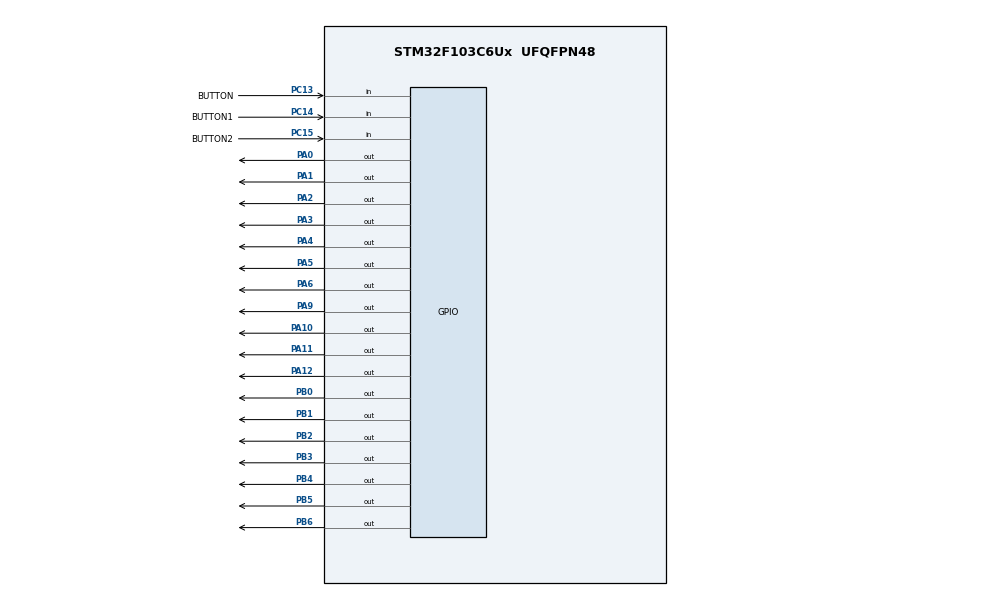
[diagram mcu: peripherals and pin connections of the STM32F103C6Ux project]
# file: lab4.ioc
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Mcu.Family=STM32F1
Mcu.Name=STM32F103C6Ux
Mcu.Package=UFQFPN48
NVIC.PriorityGroup=NVIC_PRIORITYGROUP_4
NVIC.TIM2_IRQn=true\:0\:0\:false\:false\:true\:true\:true
PA0-WKUP.Signal=GPIO_Output
PA1.Signal=GPIO_Output
PA10.Signal=GPIO_Output
PA11.Signal=GPIO_Output
PA12.Signal=GPIO_Output
PA2.Signal=GPIO_Output
PA3.Signal=GPIO_Output
PA4.Signal=GPIO_Output
PA5.Signal=GPIO_Output
PA6.Signal=GPIO_Output
PA9.Signal=GPIO_Output
PB0.Signal=GPIO_Output
PB1.Signal=GPIO_Output
PB2.Signal=GPIO_Output
PB3.Signal=GPIO_Output
PB4.Signal=GPIO_Output
PB5.Signal=GPIO_Output
PB6.Signal=GPIO_Output
PC13-TAMPER-RTC.GPIO_Label=BUTTON
PC13-TAMPER-RTC.GPIO_PuPd=GPIO_PULLUP
PC13-TAMPER-RTC.Signal=GPIO_Input
PC14-OSC32_IN.GPIO_Label=BUTTON1
PC14-OSC32_IN.GPIO_PuPd=GPIO_PULLUP
PC14-OSC32_IN.Signal=GPIO_Input
PC15-OSC32_OUT.GPIO_Label=BUTTON2
PC15-OSC32_OUT.GPIO_PuPd=GPIO_PULLUP
PC15-OSC32_OUT.Signal=GPIO_Input
ProjectManager.HeapSize=0x200
ProjectManager.StackSize=0x400
ProjectManager.TargetToolchain=STM32CubeIDE
RCC.APB1Freq_Value=8000000
RCC.APB2Freq_Value=8000000
TIM2.Period=9
TIM2.Prescaler=7999
VP_SYS_VS_ND.Mode=No_Debug
VP_TIM2_VS_ClockSourceINT.Mode=Internal
board=custom

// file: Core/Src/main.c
/* USER CODE BEGIN Header */
/**
  ******************************************************************************
  * @file           : main.c
  * @brief          : Main program body
  ******************************************************************************
  * @attention
  *
  * <h2><center>&copy; Copyright (c) 2024 STMicroelectronics.
  * All rights reserved.</center></h2>
  *
  * This software component is licensed by ST under BSD 3-Clause license,
  * the "License"; You may not use this file except in compliance with the
  * License. You may obtain a copy of the License at:
  *                        opensource.org/licenses/BSD-3-Clause
  *
  ******************************************************************************
  */
/* USER CODE END Header */
#include "main.h"

/* USER CODE BEGIN Includes */
#include "schedule.h"
#include "global.h"
#include "Button.h"
#include "fsm_auto.h"
#include "fsm_setting.h"
#include "trafficlight.h"
#include "7seg_display.h"
/* USER CODE END Includes */

TIM_HandleTypeDef htim2;

void SystemClock_Config(void);
static void MX_GPIO_Init(void);
static void MX_TIM2_Init(void);

void task1()
	{
		HAL_GPIO_TogglePin(GPIOA, GPIO_PIN_5);
	}
	void task2()
	{
		HAL_GPIO_TogglePin(GPIOA, GPIO_PIN_6);
	}
	void task3()
	{
		HAL_GPIO_TogglePin(GPIOA, GPIO_PIN_7);
	}
int main(void)
{

  /* MCU Configuration--------------------------------------------------------*/

  /* Reset of all peripherals, Initializes the Flash interface and the Systick. */
  HAL_Init();

  /* USER CODE BEGIN Init */
  SCH_Init();
  /* USER CODE END Init */

  /* Configure the system clock */
  SystemClock_Config();

  /* Initialize all configured peripherals */
  MX_GPIO_Init();
  MX_TIM2_Init();
  HAL_TIM_Base_Start_IT (&htim2);

  /* Infinite loop */
  /* USER CODE BEGIN WHILE */
//  	HAL_GPIO_WritePin(GPIOA, GPIO_PIN_5,SET);
//    	HAL_GPIO_WritePin(GPIOA, GPIO_PIN_6,SET);
//    	HAL_GPIO_WritePin(GPIOA, GPIO_PIN_7,SET);
//    	SCH_Add_Task(task1,0,50);
//    	SCH_Add_Task(task2,100,100);
//    	SCH_Add_Task(task3,100,0);

  	led_NB=5;
  	led_DT=3;
  	counter0=0;
  	counter1=300;
  	status = cd1;
    // Add tasks to the scheduler

    SCH_Add_Task(fsm_auto_run, 0, 5); // Main traffic light FSM
   //SCH_Add_Task(run_ledblink, 0, 50); // Blinking LEDs
    SCH_Add_Task(fsm_set, 10, 5); // Traffic light setting FSM
    SCH_Add_Task(decrement_counters, 0, 1);
    SCH_Add_Task(quet_7SEG, 40, 40); // 7-segment display scanning

    // Tasks derived from the adjusted fsm_set logic
//    SCH_Add_Task(redgreen_state, 0, 100); // Red-Green state handling
//    SCH_Add_Task(redyellow_state, 0, 100); // Red-Yellow state handling
//    SCH_Add_Task(greenred_state, 0, 100); // Green-Red state handling
//    SCH_Add_Task(yellowred_state, 0, 100); // Yellow-Red state handling

  while (1)
  {
    /* USER CODE END WHILE */
	SCH_dispatch_tasks();
  }
}

void SystemClock_Config(void)
{
  RCC_OscInitTypeDef RCC_OscInitStruct = {0};
  RCC_ClkInitTypeDef RCC_ClkInitStruct = {0};

  /** Initializes the RCC Oscillators according to the specified parameters
  * in the RCC_OscInitTypeDef structure.
  */
  RCC_OscInitStruct.OscillatorType = RCC_OSCILLATORTYPE_HSI;
  RCC_OscInitStruct.HSIState = RCC_HSI_ON;
  RCC_OscInitStruct.HSICalibrationValue = RCC_HSICALIBRATION_DEFAULT;
  RCC_OscInitStruct.PLL.PLLState = RCC_PLL_NONE;
  if (HAL_RCC_OscConfig(&RCC_OscInitStruct) != HAL_OK)
  {
    Error_Handler();
  }
  /** Initializes the CPU, AHB and APB buses clocks
  */
  RCC_ClkInitStruct.ClockType = RCC_CLOCKTYPE_HCLK|RCC_CLOCKTYPE_SYSCLK
                              |RCC_CLOCKTYPE_PCLK1|RCC_CLOCKTYPE_PCLK2;
  RCC_ClkInitStruct.SYSCLKSource = RCC_SYSCLKSOURCE_HSI;
  RCC_ClkInitStruct.AHBCLKDivider = RCC_SYSCLK_DIV1;
  RCC_ClkInitStruct.APB1CLKDivider = RCC_HCLK_DIV1;
  RCC_ClkInitStruct.APB2CLKDivider = RCC_HCLK_DIV1;

  if (HAL_RCC_ClockConfig(&RCC_ClkInitStruct, FLASH_LATENCY_0) != HAL_OK)
  {
    Error_Handler();
  }
}

static void MX_TIM2_Init(void)
{

  TIM_ClockConfigTypeDef sClockSourceConfig = {0};
  TIM_MasterConfigTypeDef sMasterConfig = {0};

  htim2.Instance = TIM2;
  htim2.Init.Prescaler = 7999;
  htim2.Init.CounterMode = TIM_COUNTERMODE_UP;
  htim2.Init.Period = 9;
  htim2.Init.ClockDivision = TIM_CLOCKDIVISION_DIV1;
  htim2.Init.AutoReloadPreload = TIM_AUTORELOAD_PRELOAD_DISABLE;
  if (HAL_TIM_Base_Init(&htim2) != HAL_OK)
  {
    Error_Handler();
  }
  sClockSourceConfig.ClockSource = TIM_CLOCKSOURCE_INTERNAL;
  if (HAL_TIM_ConfigClockSource(&htim2, &sClockSourceConfig) != HAL_OK)
  {
    Error_Handler();
  }
  sMasterConfig.MasterOutputTrigger = TIM_TRGO_RESET;
  sMasterConfig.MasterSlaveMode = TIM_MASTERSLAVEMODE_DISABLE;
  if (HAL_TIMEx_MasterConfigSynchronization(&htim2, &sMasterConfig) != HAL_OK)
  {
    Error_Handler();
  }

}

static void MX_GPIO_Init(void)
{
  GPIO_InitTypeDef GPIO_InitStruct = {0};

  /* GPIO Ports Clock Enable */
  __HAL_RCC_GPIOC_CLK_ENABLE();
  __HAL_RCC_GPIOA_CLK_ENABLE();
  __HAL_RCC_GPIOB_CLK_ENABLE();

  /*Configure GPIO pin Output Level */
  HAL_GPIO_WritePin(GPIOA, GPIO_PIN_0|GPIO_PIN_1|GPIO_PIN_2|GPIO_PIN_3
                          |GPIO_PIN_4|GPIO_PIN_5|GPIO_PIN_6|GPIO_PIN_9
                          |GPIO_PIN_10|GPIO_PIN_11|GPIO_PIN_12, GPIO_PIN_RESET);

  /*Configure GPIO pin Output Level */
  HAL_GPIO_WritePin(GPIOB, GPIO_PIN_0|GPIO_PIN_1|GPIO_PIN_2|GPIO_PIN_3
                          |GPIO_PIN_4|GPIO_PIN_5|GPIO_PIN_6, GPIO_PIN_RESET);

  /*Configure GPIO pins : BUTTON_Pin BUTTON1_Pin BUTTON2_Pin */
  GPIO_InitStruct.Pin = BUTTON_Pin|BUTTON1_Pin|BUTTON2_Pin;
  GPIO_InitStruct.Mode = GPIO_MODE_INPUT;
  GPIO_InitStruct.Pull = GPIO_PULLUP;
  HAL_GPIO_Init(GPIOC, &GPIO_InitStruct);

  /*Configure GPIO pins : PA0 PA1 PA2 PA3
                           PA4 PA5 PA6 PA9
                           PA10 PA11 PA12 */
  GPIO_InitStruct.Pin = GPIO_PIN_0|GPIO_PIN_1|GPIO_PIN_2|GPIO_PIN_3
                          |GPIO_PIN_4|GPIO_PIN_5|GPIO_PIN_6|GPIO_PIN_9
                          |GPIO_PIN_10|GPIO_PIN_11|GPIO_PIN_12;
  GPIO_InitStruct.Mode = GPIO_MODE_OUTPUT_PP;
  GPIO_InitStruct.Pull = GPIO_NOPULL;
  GPIO_InitStruct.Speed = GPIO_SPEED_FREQ_LOW;
  HAL_GPIO_Init(GPIOA, &GPIO_InitStruct);

  /*Configure GPIO pins : PB0 PB1 PB2 PB3
                           PB4 PB5 PB6 */
  GPIO_InitStruct.Pin = GPIO_PIN_0|GPIO_PIN_1|GPIO_PIN_2|GPIO_PIN_3
                          |GPIO_PIN_4|GPIO_PIN_5|GPIO_PIN_6;
  GPIO_InitStruct.Mode = GPIO_MODE_OUTPUT_PP;
  GPIO_InitStruct.Pull = GPIO_NOPULL;
  GPIO_InitStruct.Speed = GPIO_SPEED_FREQ_LOW;
  HAL_GPIO_Init(GPIOB, &GPIO_InitStruct);

}

/* USER CODE BEGIN 4 */
void HAL_TIM_PeriodElapsedCallback ( TIM_HandleTypeDef * htim )
{
	SCH_Update();
	getKeyInput();
}
/* USER CODE END 4 */

void Error_Handler(void)
{
  __disable_irq();
  while (1)
  {
  }
}

/************************ (C) COPYRIGHT STMicroelectronics *****END OF FILE****/
